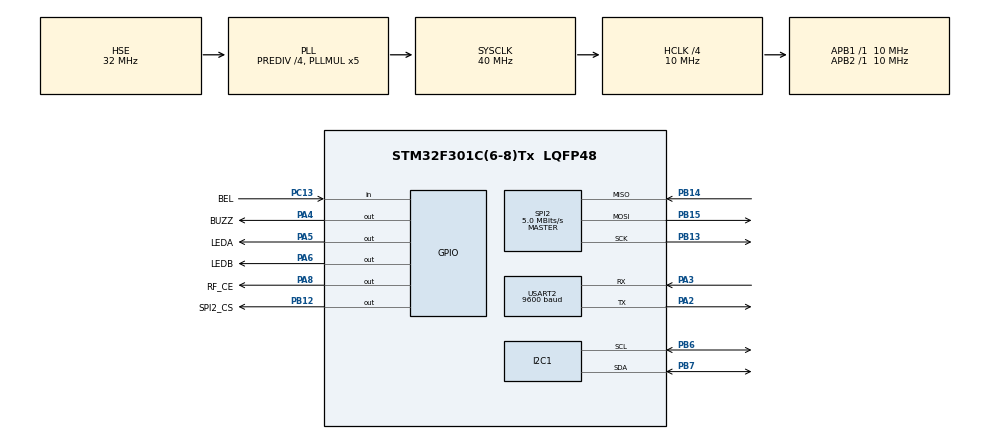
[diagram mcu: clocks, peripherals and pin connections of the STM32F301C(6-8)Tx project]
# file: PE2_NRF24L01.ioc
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Mcu.Family=STM32F3
Mcu.Name=STM32F301C(6-8)Tx
Mcu.Package=LQFP48
NVIC.PriorityGroup=NVIC_PRIORITYGROUP_4
NVIC.USART2_IRQn=true\:0\:0\:false\:false\:true\:true\:true
PA2.Mode=Asynchronous
PA2.Signal=USART2_TX
PA3.Mode=Asynchronous
PA3.Signal=USART2_RX
PA4.GPIO_Label=BUZZ
PA4.Signal=GPIO_Output
PA5.GPIO_Label=LEDA
PA5.Signal=GPIO_Output
PA6.GPIO_Label=LEDB
PA6.Signal=GPIO_Output
PA8.GPIO_Label=RF_CE
PA8.Signal=GPIO_Output
PB12.GPIO_Label=SPI2_CS
PB12.Signal=GPIO_Output
PB13.Mode=Full_Duplex_Master
PB13.Signal=SPI2_SCK
PB14.Mode=Full_Duplex_Master
PB14.Signal=SPI2_MISO
PB15.Mode=Full_Duplex_Master
PB15.Signal=SPI2_MOSI
PB6.Mode=I2C
PB6.Signal=I2C1_SCL
PB7.Mode=I2C
PB7.Signal=I2C1_SDA
PC13.GPIO_Label=BEL
PC13.Signal=GPIO_Input
PF0-OSC_IN.Mode=HSE-External-Oscillator
PF0-OSC_IN.Signal=RCC_OSC_IN
PF1-OSC_OUT.Mode=HSE-External-Oscillator
PF1-OSC_OUT.Signal=RCC_OSC_OUT
ProjectManager.HeapSize=0x200
ProjectManager.StackSize=0x400
ProjectManager.TargetToolchain=STM32CubeIDE
RCC.AHBCLKDivider=RCC_SYSCLK_DIV4
RCC.AHBFreq_Value=10000000
RCC.APB1Freq_Value=10000000
RCC.APB1TimFreq_Value=10000000
RCC.APB2Freq_Value=10000000
RCC.APB2TimFreq_Value=10000000
RCC.CortexFreq_Value=10000000
RCC.HCLKFreq_Value=10000000
RCC.HSE_VALUE=32000000
RCC.HSI_VALUE=8000000
RCC.LSE_VALUE=32768
RCC.PLLMUL=RCC_PLL_MUL5
RCC.PLLSourceVirtual=RCC_PLLSOURCE_HSE
RCC.RCC_PLLsource_Clock_Source_FROM_HSE=RCC_HSE_PREDIV_DIV4
RCC.SYSCLKFreq_VALUE=40000000
RCC.SYSCLKSourceVirtual=RCC_SYSCLKSOURCE_PLLCLK
SPI2.BaudRatePrescaler=SPI_BAUDRATEPRESCALER_2
SPI2.CalculateBaudRate=5.0 MBits/s
SPI2.DataSize=SPI_DATASIZE_8BIT
SPI2.Direction=SPI_DIRECTION_2LINES
SPI2.Mode=SPI_MODE_MASTER
SPI2.VirtualType=VM_MASTER
USART2.BaudRate=9600
USART2.SwapParam=ADVFEATURE_SWAP_ENABLE
USART2.VirtualMode-Asynchronous=VM_ASYNC
board=custom

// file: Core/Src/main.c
/* USER CODE BEGIN Header */
/**
  ******************************************************************************
  * @file           : main.c
  * @brief          : Main program body
  ******************************************************************************
  * @attention
  *
  * <h2><center>&copy; Copyright (c) 2023 STMicroelectronics.
  * All rights reserved.</center></h2>
  *
  * This software component is licensed by ST under BSD 3-Clause license,
  * the "License"; You may not use this file except in compliance with the
  * License. You may obtain a copy of the License at:
  *                        opensource.org/licenses/BSD-3-Clause
  *
  ******************************************************************************
  */
/* USER CODE END Header */
#include "main.h"

/* USER CODE BEGIN Includes */
#include "NRF24L01.h"
#include "string.h"
/* USER CODE END Includes */

I2C_HandleTypeDef hi2c1;

SPI_HandleTypeDef hspi2;

UART_HandleTypeDef huart2;

void SystemClock_Config(void);
static void MX_GPIO_Init(void);
static void MX_SPI2_Init(void);
static void MX_USART2_UART_Init(void);
static void MX_I2C1_Init(void);

/* USER CODE BEGIN 0 */
uint8_t TxAddress[] = {0xEE,0xDD,0xCC,0xBB,0xAA}; //address of the send data pipe
uint8_t TxData[] = "Knock Knock\n";

#include <stdio.h>
#include <errno.h>
#include <sys/stat.h>
#include <sys/times.h>
#include <sys/unistd.h>
int _write(int file, char *ptr, int len) {
    HAL_StatusTypeDef xStatus;
    switch (file) {
    case STDOUT_FILENO: /*stdout*/
		xStatus = HAL_UART_Transmit(&huart2, (uint8_t*)ptr, len, HAL_MAX_DELAY);
		if (xStatus != HAL_OK) {
			errno = EIO;
			return -1;
		}
        break;
    case STDERR_FILENO: /*stderr*/
		xStatus = HAL_UART_Transmit(&huart2, (uint8_t*)ptr, len, HAL_MAX_DELAY);
		if (xStatus != HAL_OK) {
			errno = EIO;
			return -1;
		}
        break;
    default:
        errno = EBADF;
        return -1;
    }
    return len;
}

//instructies tellen
//Delay is 1 cycle  * 1/CLOCK * Count voor M7
void __attribute__((naked)) SysTickDelayCount(unsigned long ulCount)
{
    __asm("    subs    r0, #1\n"
          "    bne.n     SysTickDelayCount\n"
          "    bx      lr");
}
/* USER CODE END 0 */

int main(void)
{

  /* MCU Configuration--------------------------------------------------------*/

  /* Reset of all peripherals, Initializes the Flash interface and the Systick. */
  HAL_Init();

  /* Configure the system clock */
  SystemClock_Config();

  /* Initialize all configured peripherals */
  MX_GPIO_Init();
  MX_SPI2_Init();
  MX_USART2_UART_Init();
  MX_I2C1_Init();
  /* USER CODE BEGIN 2 */
  NRF24_Init();
  //TX MODE
  //NRF24_TxMode(TxAddress, 10);

  /* USER CODE END 2 */

  /* Infinite loop */
  while (1)
  {

	  HAL_GPIO_WritePin(LEDA_GPIO_Port, LEDA_Pin, 0);
	  if(HAL_GPIO_ReadPin(BEL_GPIO_Port, BEL_Pin) == 0)
	  {
		  //TX MODE
		  NRF24_TxMode(TxAddress, 10);
		  HAL_Delay(10);

		  if (NRF24_Transmit(TxData) == 1)
		  {
			  printf("Signal Send\r\n");
			  HAL_GPIO_WritePin(LEDA_GPIO_Port, LEDA_Pin, 1);
		  }

		  while(HAL_GPIO_ReadPin(BEL_GPIO_Port, BEL_Pin) == 0)
		  {
			  //1khz tone
		  	  HAL_GPIO_WritePin(BUZZ_GPIO_Port, BUZZ_Pin, 1);
		  	  HAL_Delay(1);

	  	  	  HAL_GPIO_WritePin(BUZZ_GPIO_Port, BUZZ_Pin, 0);
	  	  	  HAL_Delay(1);
	  	  }
		  NRF24_Init();
	  }
	  //rx mode
	  		  //if data is avaible

  }
}

void SystemClock_Config(void)
{
  RCC_OscInitTypeDef RCC_OscInitStruct = {0};
  RCC_ClkInitTypeDef RCC_ClkInitStruct = {0};
  RCC_PeriphCLKInitTypeDef PeriphClkInit = {0};

  /** Initializes the RCC Oscillators according to the specified parameters
  * in the RCC_OscInitTypeDef structure.
  */
  RCC_OscInitStruct.OscillatorType = RCC_OSCILLATORTYPE_HSI|RCC_OSCILLATORTYPE_HSE;
  RCC_OscInitStruct.HSEState = RCC_HSE_ON;
  RCC_OscInitStruct.HSEPredivValue = RCC_HSE_PREDIV_DIV4;
  RCC_OscInitStruct.HSIState = RCC_HSI_ON;
  RCC_OscInitStruct.HSICalibrationValue = RCC_HSICALIBRATION_DEFAULT;
  RCC_OscInitStruct.PLL.PLLState = RCC_PLL_ON;
  RCC_OscInitStruct.PLL.PLLSource = RCC_PLLSOURCE_HSE;
  RCC_OscInitStruct.PLL.PLLMUL = RCC_PLL_MUL5;
  if (HAL_RCC_OscConfig(&RCC_OscInitStruct) != HAL_OK)
  {
    Error_Handler();
  }
  /** Initializes the CPU, AHB and APB buses clocks
  */
  RCC_ClkInitStruct.ClockType = RCC_CLOCKTYPE_HCLK|RCC_CLOCKTYPE_SYSCLK
                              |RCC_CLOCKTYPE_PCLK1|RCC_CLOCKTYPE_PCLK2;
  RCC_ClkInitStruct.SYSCLKSource = RCC_SYSCLKSOURCE_PLLCLK;
  RCC_ClkInitStruct.AHBCLKDivider = RCC_SYSCLK_DIV4;
  RCC_ClkInitStruct.APB1CLKDivider = RCC_HCLK_DIV1;
  RCC_ClkInitStruct.APB2CLKDivider = RCC_HCLK_DIV1;

  if (HAL_RCC_ClockConfig(&RCC_ClkInitStruct, FLASH_LATENCY_0) != HAL_OK)
  {
    Error_Handler();
  }
  PeriphClkInit.PeriphClockSelection = RCC_PERIPHCLK_I2C1;
  PeriphClkInit.I2c1ClockSelection = RCC_I2C1CLKSOURCE_HSI;
  if (HAL_RCCEx_PeriphCLKConfig(&PeriphClkInit) != HAL_OK)
  {
    Error_Handler();
  }
}

static void MX_I2C1_Init(void)
{

  hi2c1.Instance = I2C1;
  hi2c1.Init.Timing = 0x2000090E;
  hi2c1.Init.OwnAddress1 = 0;
  hi2c1.Init.AddressingMode = I2C_ADDRESSINGMODE_7BIT;
  hi2c1.Init.DualAddressMode = I2C_DUALADDRESS_DISABLE;
  hi2c1.Init.OwnAddress2 = 0;
  hi2c1.Init.OwnAddress2Masks = I2C_OA2_NOMASK;
  hi2c1.Init.GeneralCallMode = I2C_GENERALCALL_DISABLE;
  hi2c1.Init.NoStretchMode = I2C_NOSTRETCH_DISABLE;
  if (HAL_I2C_Init(&hi2c1) != HAL_OK)
  {
    Error_Handler();
  }
  /** Configure Analogue filter
  */
  if (HAL_I2CEx_ConfigAnalogFilter(&hi2c1, I2C_ANALOGFILTER_ENABLE) != HAL_OK)
  {
    Error_Handler();
  }
  /** Configure Digital filter
  */
  if (HAL_I2CEx_ConfigDigitalFilter(&hi2c1, 0) != HAL_OK)
  {
    Error_Handler();
  }

}

static void MX_SPI2_Init(void)
{

  /* SPI2 parameter configuration*/
  hspi2.Instance = SPI2;
  hspi2.Init.Mode = SPI_MODE_MASTER;
  hspi2.Init.Direction = SPI_DIRECTION_2LINES;
  hspi2.Init.DataSize = SPI_DATASIZE_8BIT;
  hspi2.Init.CLKPolarity = SPI_POLARITY_LOW;
  hspi2.Init.CLKPhase = SPI_PHASE_1EDGE;
  hspi2.Init.NSS = SPI_NSS_SOFT;
  hspi2.Init.BaudRatePrescaler = SPI_BAUDRATEPRESCALER_2;
  hspi2.Init.FirstBit = SPI_FIRSTBIT_MSB;
  hspi2.Init.TIMode = SPI_TIMODE_DISABLE;
  hspi2.Init.CRCCalculation = SPI_CRCCALCULATION_DISABLE;
  hspi2.Init.CRCPolynomial = 7;
  hspi2.Init.CRCLength = SPI_CRC_LENGTH_DATASIZE;
  hspi2.Init.NSSPMode = SPI_NSS_PULSE_ENABLE;
  if (HAL_SPI_Init(&hspi2) != HAL_OK)
  {
    Error_Handler();
  }

}

static void MX_USART2_UART_Init(void)
{

  huart2.Instance = USART2;
  huart2.Init.BaudRate = 9600;
  huart2.Init.WordLength = UART_WORDLENGTH_8B;
  huart2.Init.StopBits = UART_STOPBITS_1;
  huart2.Init.Parity = UART_PARITY_NONE;
  huart2.Init.Mode = UART_MODE_TX_RX;
  huart2.Init.HwFlowCtl = UART_HWCONTROL_NONE;
  huart2.Init.OverSampling = UART_OVERSAMPLING_16;
  huart2.Init.OneBitSampling = UART_ONE_BIT_SAMPLE_DISABLE;
  huart2.AdvancedInit.AdvFeatureInit = UART_ADVFEATURE_SWAP_INIT;
  huart2.AdvancedInit.Swap = UART_ADVFEATURE_SWAP_ENABLE;
  if (HAL_UART_Init(&huart2) != HAL_OK)
  {
    Error_Handler();
  }

}

static void MX_GPIO_Init(void)
{
  GPIO_InitTypeDef GPIO_InitStruct = {0};

  /* GPIO Ports Clock Enable */
  __HAL_RCC_GPIOC_CLK_ENABLE();
  __HAL_RCC_GPIOF_CLK_ENABLE();
  __HAL_RCC_GPIOA_CLK_ENABLE();
  __HAL_RCC_GPIOB_CLK_ENABLE();

  /*Configure GPIO pin Output Level */
  HAL_GPIO_WritePin(GPIOA, BUZZ_Pin|LEDA_Pin|LEDB_Pin|RF_CE_Pin, GPIO_PIN_RESET);

  /*Configure GPIO pin Output Level */
  HAL_GPIO_WritePin(SPI2_CS_GPIO_Port, SPI2_CS_Pin, GPIO_PIN_RESET);

  /*Configure GPIO pin : BEL_Pin */
  GPIO_InitStruct.Pin = BEL_Pin;
  GPIO_InitStruct.Mode = GPIO_MODE_INPUT;
  GPIO_InitStruct.Pull = GPIO_NOPULL;
  HAL_GPIO_Init(BEL_GPIO_Port, &GPIO_InitStruct);

  /*Configure GPIO pins : BUZZ_Pin LEDA_Pin LEDB_Pin RF_CE_Pin */
  GPIO_InitStruct.Pin = BUZZ_Pin|LEDA_Pin|LEDB_Pin|RF_CE_Pin;
  GPIO_InitStruct.Mode = GPIO_MODE_OUTPUT_PP;
  GPIO_InitStruct.Pull = GPIO_NOPULL;
  GPIO_InitStruct.Speed = GPIO_SPEED_FREQ_LOW;
  HAL_GPIO_Init(GPIOA, &GPIO_InitStruct);

  /*Configure GPIO pin : SPI2_CS_Pin */
  GPIO_InitStruct.Pin = SPI2_CS_Pin;
  GPIO_InitStruct.Mode = GPIO_MODE_OUTPUT_PP;
  GPIO_InitStruct.Pull = GPIO_NOPULL;
  GPIO_InitStruct.Speed = GPIO_SPEED_FREQ_LOW;
  HAL_GPIO_Init(SPI2_CS_GPIO_Port, &GPIO_InitStruct);

}

void Error_Handler(void)
{
  __disable_irq();
  while (1)
  {
  }
}

/************************ (C) COPYRIGHT STMicroelectronics *****END OF FILE****/
